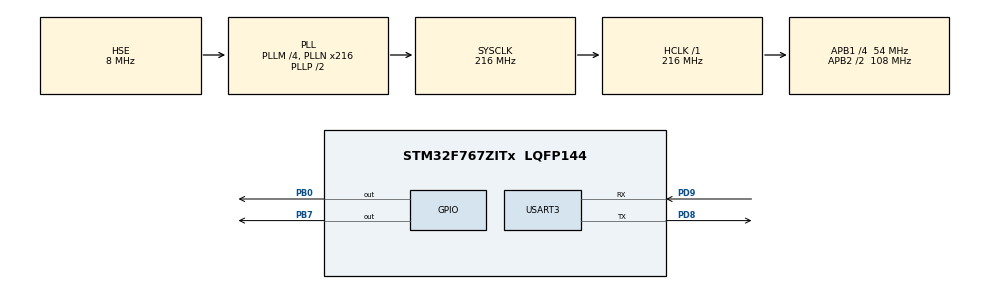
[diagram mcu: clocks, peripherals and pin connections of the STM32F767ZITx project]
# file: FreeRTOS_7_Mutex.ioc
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FREERTOS.INCLUDE_vTaskDelayUntil=1
FREERTOS.Tasks01=normalTask,0,128,start_normalTask,Default,NULL,Dynamic,NULL,NULL
FREERTOS.configUSE_COUNTING_SEMAPHORES=0
FREERTOS.configUSE_NEWLIB_REENTRANT=1
Mcu.Family=STM32F7
Mcu.Name=STM32F767ZITx
Mcu.Package=LQFP144
NVIC.PriorityGroup=NVIC_PRIORITYGROUP_4
NVIC.TIM6_DAC_IRQn=true\:15\:0\:false\:false\:true\:false\:false\:true\:true
NVIC.TimeBase=TIM6_DAC_IRQn
NVIC.TimeBaseIP=TIM6
NVIC.USART3_IRQn=true\:5\:0\:false\:false\:true\:true\:true\:true\:true
PB0.Signal=GPIO_Output
PB7.Signal=GPIO_Output
PD8.Mode=Asynchronous
PD8.Signal=USART3_TX
PD9.Mode=Asynchronous
PD9.Signal=USART3_RX
PH0/OSC_IN.Mode=HSE-External-Oscillator
PH0/OSC_IN.Signal=RCC_OSC_IN
PH1/OSC_OUT.Mode=HSE-External-Oscillator
PH1/OSC_OUT.Signal=RCC_OSC_OUT
ProjectManager.HeapSize=0x200
ProjectManager.StackSize=0x400
ProjectManager.TargetToolchain=STM32CubeIDE
RCC.AHBFreq_Value=216000000
RCC.APB1CLKDivider=RCC_HCLK_DIV4
RCC.APB1Freq_Value=54000000
RCC.APB1TimFreq_Value=108000000
RCC.APB2CLKDivider=RCC_HCLK_DIV2
RCC.APB2Freq_Value=108000000
RCC.APB2TimFreq_Value=216000000
RCC.CortexFreq_Value=216000000
RCC.HCLKFreq_Value=216000000
RCC.HSE_VALUE=8000000
RCC.HSI_VALUE=16000000
RCC.LSE_VALUE=32768
RCC.PLLM=4
RCC.PLLN=216
RCC.PLLSourceVirtual=RCC_PLLSOURCE_HSE
RCC.SYSCLKFreq_VALUE=216000000
RCC.SYSCLKSource=RCC_SYSCLKSOURCE_PLLCLK
RCC.USBFreq_Value=216000000
RCC.VCOOutputFreq_Value=432000000
USART3.VirtualMode-Asynchronous=VM_ASYNC
VP_FREERTOS_VS_CMSIS_V1.Mode=CMSIS_V1
VP_SYS_VS_tim6.Mode=TIM6
board=custom

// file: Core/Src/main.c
/* USER CODE BEGIN Header */
/**
  ******************************************************************************
  * @file           : main.c
  * @brief          : Main program body
  ******************************************************************************
  * @author			: Jabed-Akhtar (GitHub)
  * @date			: 11.10.2022
  ******************************************************************************
  * Description:
  * 	- a source within this script: https://youtube.com/playlist?list=PLfIJKC1ud8gj1t2y36sabPT4YcKzmN_5D
  * 	- Related doc/file can be found at location '<project-dir>/zz_docs/...'
  *
  * 	- For testing two Task, two LEDs are also used (main testing stuff is although UART)
  * 	  As it's example of binary-Semaphore, when one LED is On, other will be Off and when
  * 	  it's Off, another is On (toggling mode). This shows, before taking semaphore, the task
  * 	  has to wait till another task give/frees the semaphore.
  *
  * @attention
  * Very imp note:
  * 	- comment out #include "cmsis_os.h" , as it is not used
  * 	- comment or remote by-default created task related stuffs
  *
  ******************************************************************************
  */
/* USER CODE END Header */
#include "main.h"
//#include "cmsis_os.h"

/* USER CODE BEGIN Includes */

#include "FreeRTOS.h"
#include "task.h"
//#include "timers.h"
#include "queue.h"
#include "semphr.h"
//#include "event_groups.h"

#include <stdio.h>
#include "stdlib.h"
#include "string.h"

/* USER CODE END Includes */

UART_HandleTypeDef huart3;

//osThreadId normalTaskHandle;
/* USER CODE BEGIN PV */

/****** Mutex Handler *****/
SemaphoreHandle_t simpleMutex;

// defining Task Handlers **********
TaskHandle_t HPT_Handler;
TaskHandle_t MPT_Handler;
TaskHandle_t LPT_Handler;

/* USER CODE END PV */

void SystemClock_Config(void);
static void MX_GPIO_Init(void);
static void MX_USART3_UART_Init(void);
//void start_normalTask(void const * argument);

/* USER CODE BEGIN PFP */

void HPT_Task (void *argument);
void MPT_Task (void *argument);
void LPT_Task (void *argument);
void Send_Uart(char *str); // Function to send data via UART , acquire Mutex and release Mutex

/* USER CODE END PFP */

int main(void)
{

  /* MCU Configuration--------------------------------------------------------*/

  /* Reset of all peripherals, Initializes the Flash interface and the Systick. */
  HAL_Init();

  /* Configure the system clock */
  SystemClock_Config();

  /* Initialize all configured peripherals */
  MX_GPIO_Init();
  MX_USART3_UART_Init();
  /* USER CODE BEGIN 2 */

  // sending data through USART at the beginning of Programm
  char stri[] = "\n---------- Programm started!!! ----------\n\n\r";
  HAL_UART_Transmit(&huart3, (uint8_t*)stri, strlen(stri), HAL_MAX_DELAY); //HAL_MAX_DELAY -> 0xFFFFFFFFU

  /***** creating Mutex ****/
  simpleMutex = xSemaphoreCreateMutex();
  if (simpleMutex != NULL) // if Mutex is created
  {
	  char *str1 = "Mutex Created.\n\r";
	  HAL_UART_Transmit(&huart3, (uint8_t*)str1, strlen(str1), HAL_MAX_DELAY);
  }

  /***** create Tasks *****/
  xTaskCreate(HPT_Task, "HPT", 128, NULL, 3, &HPT_Handler);
  xTaskCreate(MPT_Task, "MPT", 128, NULL, 2, &MPT_Handler);
//  xTaskCreate(HPT_Task, "LPT", 128, NULL, 1, &HPT_Handler); // Not in use

  // start the Schedular
  vTaskStartScheduler();

  /* USER CODE END 2 */

  /* Create the thread(s) */
  /* definition and creation of normalTask */
//  osThreadDef(normalTask, start_normalTask, osPriorityNormal, 0, 128);
//  normalTaskHandle = osThreadCreate(osThread(normalTask), NULL);

  /* Start scheduler */
//  osKernelStart();

  /* We should never get here as control is now taken by the scheduler */
  /* Infinite loop */
  while (1)
  {

  }
}

void SystemClock_Config(void)
{
  RCC_OscInitTypeDef RCC_OscInitStruct = {0};
  RCC_ClkInitTypeDef RCC_ClkInitStruct = {0};

  /** Configure the main internal regulator output voltage
  */
  __HAL_RCC_PWR_CLK_ENABLE();
  __HAL_PWR_VOLTAGESCALING_CONFIG(PWR_REGULATOR_VOLTAGE_SCALE1);

  /** Initializes the RCC Oscillators according to the specified parameters
  * in the RCC_OscInitTypeDef structure.
  */
  RCC_OscInitStruct.OscillatorType = RCC_OSCILLATORTYPE_HSE;
  RCC_OscInitStruct.HSEState = RCC_HSE_ON;
  RCC_OscInitStruct.PLL.PLLState = RCC_PLL_ON;
  RCC_OscInitStruct.PLL.PLLSource = RCC_PLLSOURCE_HSE;
  RCC_OscInitStruct.PLL.PLLM = 4;
  RCC_OscInitStruct.PLL.PLLN = 216;
  RCC_OscInitStruct.PLL.PLLP = RCC_PLLP_DIV2;
  RCC_OscInitStruct.PLL.PLLQ = 2;
  RCC_OscInitStruct.PLL.PLLR = 2;
  if (HAL_RCC_OscConfig(&RCC_OscInitStruct) != HAL_OK)
  {
    Error_Handler();
  }

  /** Activate the Over-Drive mode
  */
  if (HAL_PWREx_EnableOverDrive() != HAL_OK)
  {
    Error_Handler();
  }

  /** Initializes the CPU, AHB and APB buses clocks
  */
  RCC_ClkInitStruct.ClockType = RCC_CLOCKTYPE_HCLK|RCC_CLOCKTYPE_SYSCLK
                              |RCC_CLOCKTYPE_PCLK1|RCC_CLOCKTYPE_PCLK2;
  RCC_ClkInitStruct.SYSCLKSource = RCC_SYSCLKSOURCE_PLLCLK;
  RCC_ClkInitStruct.AHBCLKDivider = RCC_SYSCLK_DIV1;
  RCC_ClkInitStruct.APB1CLKDivider = RCC_HCLK_DIV4;
  RCC_ClkInitStruct.APB2CLKDivider = RCC_HCLK_DIV2;

  if (HAL_RCC_ClockConfig(&RCC_ClkInitStruct, FLASH_LATENCY_7) != HAL_OK)
  {
    Error_Handler();
  }
}

static void MX_USART3_UART_Init(void)
{

  huart3.Instance = USART3;
  huart3.Init.BaudRate = 115200;
  huart3.Init.WordLength = UART_WORDLENGTH_8B;
  huart3.Init.StopBits = UART_STOPBITS_1;
  huart3.Init.Parity = UART_PARITY_NONE;
  huart3.Init.Mode = UART_MODE_TX_RX;
  huart3.Init.HwFlowCtl = UART_HWCONTROL_NONE;
  huart3.Init.OverSampling = UART_OVERSAMPLING_16;
  huart3.Init.OneBitSampling = UART_ONE_BIT_SAMPLE_DISABLE;
  huart3.AdvancedInit.AdvFeatureInit = UART_ADVFEATURE_NO_INIT;
  if (HAL_UART_Init(&huart3) != HAL_OK)
  {
    Error_Handler();
  }

}

static void MX_GPIO_Init(void)
{
  GPIO_InitTypeDef GPIO_InitStruct = {0};

  /* GPIO Ports Clock Enable */
  __HAL_RCC_GPIOH_CLK_ENABLE();
  __HAL_RCC_GPIOB_CLK_ENABLE();
  __HAL_RCC_GPIOD_CLK_ENABLE();

  /*Configure GPIO pin Output Level */
  HAL_GPIO_WritePin(GPIOB, GPIO_PIN_0|GPIO_PIN_7, GPIO_PIN_RESET);

  /*Configure GPIO pins : PB0 PB7 */
  GPIO_InitStruct.Pin = GPIO_PIN_0|GPIO_PIN_7;
  GPIO_InitStruct.Mode = GPIO_MODE_OUTPUT_PP;
  GPIO_InitStruct.Pull = GPIO_NOPULL;
  GPIO_InitStruct.Speed = GPIO_SPEED_FREQ_LOW;
  HAL_GPIO_Init(GPIOB, &GPIO_InitStruct);

}

/* USER CODE BEGIN 4 */

// Medium Priority Task Handler function
/*
 * Medium/Normal Priority Task to send data via UART
 */
void HPT_Task(void *argument)
{
	char *strtosend = "IN HPT===========================\n";
	while (1)
	{
		char *str = "Entered HPT and About to take MUTEX\n";
		HAL_UART_Transmit(&huart3, (uint8_t *)str, strlen (str), HAL_MAX_DELAY);

		Send_Uart(strtosend);

		char *str2 = "Leaving HPT\n\n";
		HAL_UART_Transmit(&huart3, (uint8_t *)str2, strlen (str2), HAL_MAX_DELAY);

		HAL_GPIO_TogglePin(GPIOB, GPIO_PIN_0); // Toggling LED-0 on leaving HPT_Task

		vTaskDelay(1500);
	}
}

// Medium Priority Task Handler function
/*
 * Medium/Normal Priority Task to send data via UART
 */
void MPT_Task(void *argument)
{
	char *strtosend = "IN MPT===========================\n";
	while (1)
	{
		char *str = "Entered MPT and About to take MUTEX\n";
		HAL_UART_Transmit(&huart3, (uint8_t *)str, strlen (str), HAL_MAX_DELAY);

		Send_Uart(strtosend);

		char *str2 = "Leaving MPT\n\n";
		HAL_UART_Transmit(&huart3, (uint8_t *)str2, strlen (str2), HAL_MAX_DELAY);

		HAL_GPIO_TogglePin(GPIOB, GPIO_PIN_7); // Toggling LED-1 on leaving MPT_Task

		vTaskDelay(1000);
	}
}

// Low Priority Task Handler function !!!Not in use in this example!!!
void LPT_Task(void *argument){}

// Function to send data via UART
void Send_Uart(char *str)
{
	xSemaphoreTake(simpleMutex, portMAX_DELAY);
	HAL_UART_Transmit(&huart3, (uint8_t *)str, strlen (str), HAL_MAX_DELAY);
	HAL_Delay(2000);
	xSemaphoreGive(simpleMutex);
}

/* USER CODE END 4 */

//void start_normalTask(void const * argument)
//{
//  /* USER CODE BEGIN 5 */
//  /* Infinite loop */
//  for(;;)
//  {
//    osDelay(1);
//  }
//  /* USER CODE END 5 */
//}

void HAL_TIM_PeriodElapsedCallback(TIM_HandleTypeDef *htim)
{
  if (htim->Instance == TIM6) {
    HAL_IncTick();
  }
}

void Error_Handler(void)
{
  __disable_irq();
  while (1)
  {
  }
}
